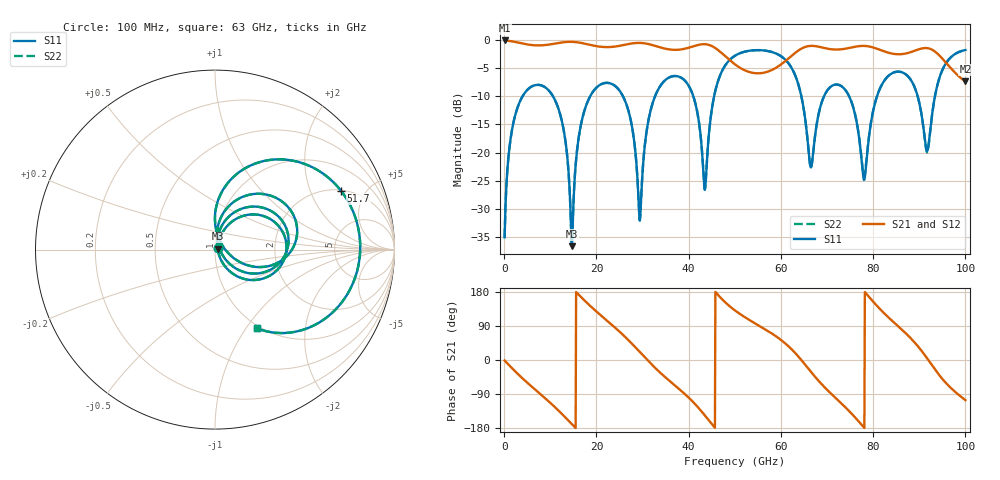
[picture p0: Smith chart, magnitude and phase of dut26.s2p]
! Touchstone file exported from HFSS 2026.1.0
!  File:  C:/ffzhzh/LocalFiles/Ansys_Project_Files/temp_train_TSV_RDL_26_1783439830_50928.aedt
!  Generated:  12:09:25 AM Jul  8, 2026
!  Design:  TSV_RDL
!  Project:  temp_train_TSV_RDL_26_1783439830_50928
! Variables:
!  h_bsmrdl = 3.65um
!  h_ox = 20um
!  h_rdl = 5um
!  h_sub = 91.32um
!  h_tmrdl = 4.31um
!  h_tsv = 91.32um
!  h_via = 3um
!  l_bsmrdl = 164.71um
!  l_sub = 3559.26um
!  l_tmrdl = 639.53um
!  m_sub = 200um
!  pitch = 48.45um
!  r_tsv = 14.66um
!  s_tmrdl = 10um
!  w_bsmrdl = 11.61um
!  w_sub = 500um
!  w_tmrdl = 24.06um
!  x_tsv_center1 = 651.56um
!  x_tsv_center2 = 827.88um
!  x_tsv_center3 = 1491.47um
!  x_tsv_center4 = 1667.79um
!  x_tsv_center5 = 2331.38um
!  x_tsv_center6 = 2507.7um
# GHz S MA R 50.000000
! Terminal data exported
! Port[1] = TM_RDL1_1_T1
! Port[2] = TM_RDL5_1_T1
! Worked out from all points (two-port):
!   1000 points, 100 MHz to 100 GHz, reference 50 ohm
!   highest |S21| = -0.12 dB at 100 MHz (marker M1); lowest = -7.4 dB at 100 GHz (marker M2)
!   |S21| within 3 dB of the highest: start of sweep to 48.23 GHz; 61.91 GHz to 94.76 GHz (32.85 GHz wide, 41.9 % of centre)
!   lowest |S11| = -36.5 dB at 14.7 GHz (marker M3), VSWR 1.03, Z = 51.4 + j0.446 ohm
!   |S11| at or under -10 dB: 10.58 GHz to 18.65 GHz (8.071 GHz wide, 55.2 % of centre); 25.76 GHz to 32.72 GHz (6.957 GHz wide, 23.8 % of centre); 74.78 GHz to 80.84 GHz (6.058 GHz wide, 7.79 % of centre) (the widest 3 of 7)
!   |S22| runs from -36.3 to -1.8 dB; largest |S21 - S12| = 8e-14
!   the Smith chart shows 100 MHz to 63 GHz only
!   S11 on the Smith chart (normalised r, x): 100 MHz: 1.03, +0.02; 51.7 GHz: 2.04, +3.34; 63 GHz: 0.97, -1.12
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0.1  0.01782 36.0  0.9858 -1.3  0.9858 -1.3  0.01782 36.0
! Gamma 0 0 0 0
! Port Impedance 50 0 50 0
2.3  0.2075 55.5  0.9579 -28.9  0.9579 -28.9  0.2075 55.5
7.1  0.3986 5.4  0.8914 -82.0  0.8914 -82.0  0.3986 5.4
12.2  0.2146 -47.5  0.9422 -138.4  0.9422 -138.4  0.2146 -47.3
14.7  0.01489 16.9  0.9581 -169.4  0.9581 -169.4  0.0153 16.8
16.8  0.1896 68.5  0.9356 164.5  0.9356 164.5  0.1896 68.4
25.3  0.3412 -17.5  0.8883 71.7  0.8883 71.7  0.3413 -17.4
29.4  0.025 16.5  0.9379 21.3  0.9379 21.3  0.02567 16.4
33.4  0.3633 57.5  0.8664 -28.6  0.8664 -28.6  0.3634 57.5
40.1  0.3859 -7.8  0.8528 -100.4  0.8528 -100.4  0.386 -7.7
43.5  0.04687 29.3  0.9135 -146.0  0.9135 -146.0  0.04786 29.3
45.9  0.3692 79.8  0.8378 178.3  0.8378 178.3  0.3693 79.7
50.1  0.7245 37.5  0.6031 130.2  0.6031 130.2  0.7246 37.5
51.7  0.7749 25.0  0.5481 116.8  0.5481 116.8  0.775 25.0
63  0.4949 -62.1  0.7597 19.9  0.7597 19.9  0.4951 -62.0
66.7  0.07893 -11.0  0.8831 -34.0  0.8831 -34.0  0.0784 -10.8
71.5  0.3983 -8.3  0.8201 -96.0  0.8201 -96.0  0.3984 -7.9
77.1  0.1218 -50.2  0.8795 -165.3  0.8795 -165.3  0.1238 -48.4
83.4  0.4825 17.7  0.766 111.5  0.766 111.5  0.4828 17.2
91.7  0.1035 0.6  0.8436 4.3  0.8436 4.3  0.1007 0.3
95  0.5389 29.1  0.6809 -49.9  0.6809 -49.9  0.5385 29.2
100  0.8113 -19.8  0.4272 -105.9  0.4272 -105.9  0.8114 -19.8
